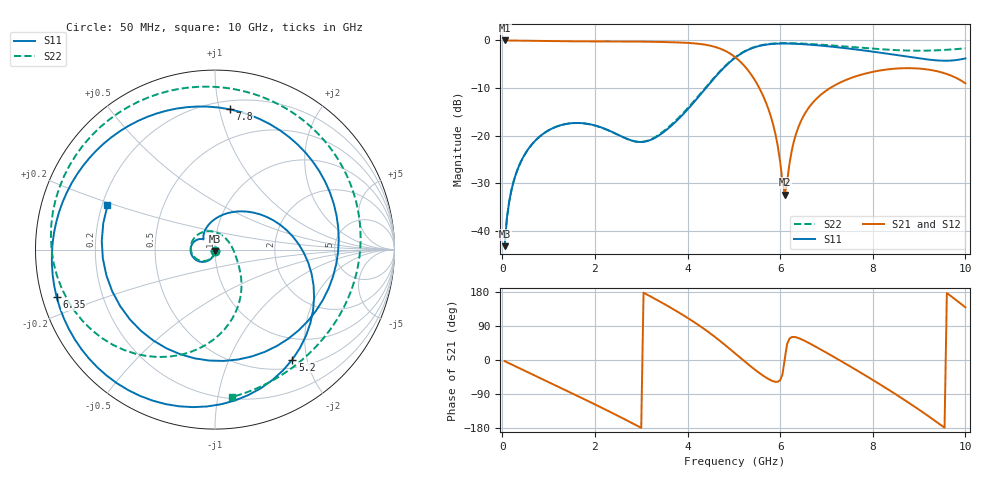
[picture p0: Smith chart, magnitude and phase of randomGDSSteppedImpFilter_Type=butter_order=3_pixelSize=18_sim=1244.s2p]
! freq	dB(S11)	phase(S11)	dB(S12)	phase(S12)
!  dB(S21)	phase(S21)	dB(S22)	phase(S22)
!S-par simulation data
#  GHz  S  DB  R 50
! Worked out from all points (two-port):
!   200 points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, 50 MHz to 10 GHz, reference 50 ohm
!   highest |S21| = -0.01 dB at 50 MHz (marker M1); lowest = -32.3 dB at 6.1 GHz (marker M2)
!   |S21| within 3 dB of the highest: start of sweep to 4.958 GHz
!   lowest |S11| = -43.2 dB at 50 MHz (marker M3), VSWR 1.01, Z = 50 - j0.694 ohm
!   |S11| at or under -10 dB: start of sweep to 4.395 GHz
!   |S22| runs from -43.2 to -0.6 dB; largest |S21 - S12| = 0
!   S11 on the Smith chart (normalised r, x): 50 MHz: 1.00, -0.01; 5.2 GHz: 0.63, -1.75; 6.35 GHz: 0.04, -0.15; 7.8 GHz: 0.26, +1.08; 10 GHz: 0.22, +0.19
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0.05  -43.18 -90.4  -0.01 -3.0  -0.01 -3.0  -43.18 -90.6
0.2  -31.30 -100.8  -0.02 -11.8  -0.02 -11.8  -31.30 -101.9
0.5  -23.69 -118.3  -0.06 -29.3  -0.06 -29.3  -23.71 -121.0
1.15  -18.16 -154.3  -0.15 -67.1  -0.15 -67.1  -18.17 -161.6
1.75  -17.38 174.7  -0.20 -102.2  -0.20 -102.2  -17.40 159.0
2.65  -20.48 141.7  -0.23 -156.8  -0.23 -156.8  -20.51 82.4
3.4  -19.83 128.9  -0.32 154.4  -0.32 154.4  -19.66 -3.2
4.3  -11.10 49.4  -0.78 87.0  -0.78 87.0  -10.91 -59.5
4.75  -6.08 -2.4  -1.90 45.6  -1.90 45.6  -5.96 -91.2
5.05  -3.47 -37.6  -3.68 15.1  -3.68 15.1  -3.39 -117.9
5.2  -2.51 -54.9  -5.05 -0.4  -5.05 -0.4  -2.44 -132.2
5.8  -0.76 -117.1  -15.99 -53.5  -15.99 -53.5  -0.70 171.3
6.1  -0.65 -143.3  -32.34 2.9  -32.34 2.9  -0.57 145.7
6.35  -0.71 -163.4  -19.40 59.7  -19.40 59.7  -0.61 125.5
6.7  -0.94 170.1  -13.11 39.7  -13.11 39.7  -0.78 98.7
7.3  -1.50 124.9  -8.82 -1.8  -8.82 -1.8  -1.19 55.4
7.8  -2.09 84.0  -7.06 -37.8  -7.06 -37.8  -1.57 22.5
8.35  -2.84 31.7  -6.04 -79.2  -6.04 -79.2  -1.95 -9.5
8.8  -3.49 -18.8  -5.82 -114.7  -5.82 -114.7  -2.13 -32.2
9.3  -4.12 -85.6  -6.29 -156.6  -6.29 -156.6  -2.11 -54.5
9.7  -4.22 -149.2  -7.42 167.5  -7.42 167.5  -1.90 -71.1
10  -3.77 157.7  -9.00 139.0  -9.00 139.0  -1.66 -83.6
